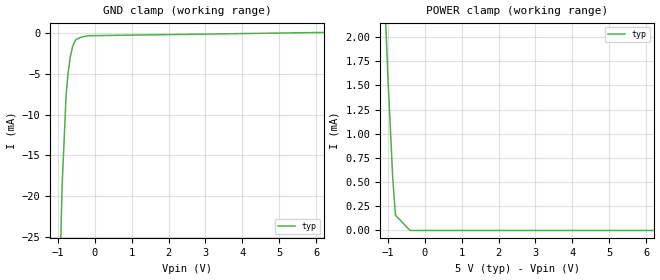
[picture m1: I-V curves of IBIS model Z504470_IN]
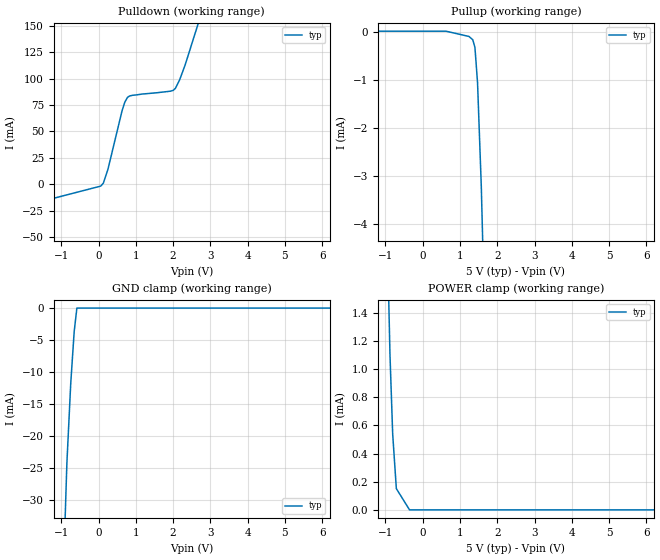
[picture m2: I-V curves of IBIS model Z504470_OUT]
| YOU ARE ONLY AUTHORIZED TO USE THIS SOFTWARE
| ACCORDING TO LICENSOR'S LICENSE RESTRICTIONS.
[IBIS Ver] 3.1
[File Name] sn54ls682j.ibs
[File Rev] 2.0
[Source] Measured and created by ICX Technology
[Date] Friday 7/14/00 9:08:15 AM
[Copyright]
| (C) COPYRIGHT 1993-2000
| MENTOR GRAPHICS CORPORATION
| ICX STANDARD LIBRARY, ICX PROJECT MODELING,
| ICX CUSTOM MODELING, ICX VENDOR MODEL
| ALL RIGHTS RESERVED.
| THE FOLLOWING ARE TRADEMARKS OR SERVICE MARKS OF
| MENTOR GRAPHICS CORPORATION:ICX (R), ICX STANDARD
| LIBRARY(R), ICX PROJECT MODELING(R), ICX CUSTOM
| MODELING(R), qualityIBIS(TM), MODELVIEWER(TM),
| AND MODELEDITOR(TM)
| ALL COPIES OF SOFTWARE, INCLUDING BUT NOT LIMITED TO
| ANY MODIFICATIONS, ENHANCEMENTS OR DERIVATIVE WORKS,
| MUST CONTAIN ALL MENTOR GRAPHICS CORPORATION'S
| NOTICES AND LEGENDS, INCLUDING THOSE EMBEDDED IN
| SOFTWARE AND THOSE AFFIXED TO SOFTWARE MEDIUM
| AND CONTAINER, AS RECEIVED FROM MENTOR GRAPHICS
| CORPORATION.
|  ZAP Model Builder 2.7
[Component] SN54LS682J
[Manufacturer] OnSemiconductor
[Package]
| variable   typ   min   max
R_pkg  .216ohms NA NA
L_pkg  5.76nH NA NA
C_pkg  2.193pF NA NA
[Pin] signal_name  model_name  R_pin  L_pin C_pin
1 _P_GT_Q Z504470_OUT .232 9.76n 3.179p
2 P0 Z504470_IN .224 7.26n 2.686p
3 Q0 Z504470_IN .216 5.26n 2.193p
4 P1 Z504470_IN .208 3.76n 1.7p
5 Q1 Z504470_IN .2 2.76n 1.207p
6 P2 Z504470_IN .2 2.76n 1.207p
7 Q2 Z504470_IN .208 3.76n 1.7p
8 P3 Z504470_IN .216 5.26n 2.193p
9 Q3 Z504470_IN .224 7.26n 2.686p
10 GND GND .232 9.76n 3.179p
11 P4 Z504470_IN .232 9.76n 3.179p
12 Q4 Z504470_IN .224 7.26n 2.686p
13 P5 Z504470_IN .216 5.26n 2.193p
14 Q5 Z504470_IN .208 3.76n 1.7p
15 P6 Z504470_IN .2 2.76n 1.207p
16 Q6 Z504470_IN .2 2.76n 1.207p
17 P7 Z504470_IN .208 3.76n 1.7p
18 Q7 Z504470_IN .216 5.26n 2.193p
19 _P_EQ_Q Z504470_OUT .224 7.26n 2.686p
20 VCC POWER .232 9.76n 3.179p
| Models and submodels in the file (2): Z504470_IN (Input), Z504470_OUT (Output)
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| (C) COPYRIGHT 1993-2000
| MENTOR GRAPHICS CORPORATION
| ICX STANDARD LIBRARY, ICX PROJECT MODELING,
| ICX CUSTOM MODELING, ICX VENDOR MODEL
| ALL RIGHTS RESERVED.
| THE FOLLOWING ARE TRADEMARKS OR SERVICE MARKS OF
| MENTOR GRAPHICS CORPORATION:ICX (R), ICX STANDARD
| LIBRARY(R), ICX PROJECT MODELING(R), ICX CUSTOM
| MODELING(R), qualityIBIS(TM), MODELVIEWER(TM),
| AND MODELEDITOR(TM)
| ALL COPIES OF SOFTWARE, INCLUDING BUT NOT LIMITED TO
| ANY MODIFICATIONS, ENHANCEMENTS OR DERIVATIVE WORKS,
| MUST CONTAIN ALL MENTOR GRAPHICS CORPORATION'S
| NOTICES AND LEGENDS, INCLUDING THOSE EMBEDDED IN
| SOFTWARE AND THOSE AFFIXED TO SOFTWARE MEDIUM
| AND CONTAINER, AS RECEIVED FROM MENTOR GRAPHICS
| CORPORATION.
| Model Application Version 1.89 2/18/99.
[Model] Z504470_IN
Model_type Input
Vinl = 800.0mV
Vinh = 2.000V
C_comp 4.000pF NA NA
| variable typ   min   max
[Voltage Range] 5.000V NA NA
[GND Clamp Reference] 0.000V NA NA
[POWER Clamp Reference] 5.000V NA NA
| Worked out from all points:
|   GND clamp passes 1 mA (typ) near -0.53 V on its own axis
|   POWER clamp passes 1 mA (typ) near -0.92 V on its own axis
[GND Clamp]
-5V       -756.3mA   NA         NA
-878.6mV  -18.64mA   NA         NA
-771.5mV  -7.581mA   NA         NA
-719.4mV  -4.915mA   NA         NA
-657.5mV  -2.876mA   NA         NA
-593.1mV  -1.58mA    NA         NA
-522.4mV  -881.6uA   NA         NA
-478.6mV  -714.8uA   NA         NA
-365.9mV  -495.9uA   NA         NA
-183mV    -307.9uA   NA         NA
10V       336.6uA    NA         NA
[POWER Clamp]
-5V       39.58mA    NA         NA
-994mV    1.589mA    NA         NA
-864mV    548.4uA    NA         NA
-789mV    158uA      NA         NA
-394.5mV  0A         NA         NA
10V       0A         NA         NA
| (C) COPYRIGHT 1993-2000
| MENTOR GRAPHICS CORPORATION
| ICX STANDARD LIBRARY, ICX PROJECT MODELING,
| ICX CUSTOM MODELING, ICX VENDOR MODEL
| ALL RIGHTS RESERVED.
| THE FOLLOWING ARE TRADEMARKS OR SERVICE MARKS OF
| MENTOR GRAPHICS CORPORATION:ICX (R), ICX STANDARD
| LIBRARY(R), ICX PROJECT MODELING(R), ICX CUSTOM
| MODELING(R), qualityIBIS(TM), MODELVIEWER(TM),
| AND MODELEDITOR(TM)
| ALL COPIES OF SOFTWARE, INCLUDING BUT NOT LIMITED TO
| ANY MODIFICATIONS, ENHANCEMENTS OR DERIVATIVE WORKS,
| MUST CONTAIN ALL MENTOR GRAPHICS CORPORATION'S
| NOTICES AND LEGENDS, INCLUDING THOSE EMBEDDED IN
| SOFTWARE AND THOSE AFFIXED TO SOFTWARE MEDIUM
| AND CONTAINER, AS RECEIVED FROM MENTOR GRAPHICS
| CORPORATION.
| Model Application Version 1.89 2/18/99.
[Model] Z504470_OUT
Model_type Output
Vref=5.000V
Rref=2.000kohms
Cref=15.00pF
Vmeas=1.300V
C_comp 8.000pF NA NA
| variable typ   min   max
[Voltage Range] 5.000V NA NA
[POWER Clamp Reference] 5.000V NA NA
[Pullup Reference] 5.000V NA NA
[Pulldown Reference] 0.000V NA NA
[GND Clamp Reference] 0.000V NA NA
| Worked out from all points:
|   slope of the pulldown table from 0 to 0.75 V, typ, clamps not added: 9.06 ohm
|   slope of the pullup table from 0 to 0.75 V, typ, clamps not added: 33.6 kohm
|   GND clamp passes 1 mA (typ) near -0.60 V on its own axis
|   POWER clamp passes 1 mA (typ) near -0.87 V on its own axis
[GND Clamp]
-5V       -1.326A    NA         NA
-1.138V   -87.27mA   NA         NA
-1.015V   -54.72mA   NA         NA
-849.6mV  -24.26mA   NA         NA
-747mV    -11.87mA   NA         NA
-654.2mV  -3.71mA    NA         NA
-581.5mV  0A         NA         NA
10V       0A         NA         NA
[Pulldown]
-5V       -47.8mA    NA         NA
68.78mV   -1.387mA   NA         NA
131mV     1.276mA    NA         NA
253.7mV   14.41mA    NA         NA
630.2mV   69.45mA    NA         NA
703.1mV   77.58mA    NA         NA
776.6mV   82.23mA    NA         NA
2.007V    88.97mA    NA         NA
2.064V    90.86mA    NA         NA
2.178V    99mA       NA         NA
2.323V    112.8mA    NA         NA
10V       970.2mA    NA         NA
[Pullup]
-5V       10.08uA    NA         NA
625mV     10.08uA    NA         NA
1.241V    -99.95uA   NA         NA
1.343V    -168.5uA   NA         NA
1.401V    -327.7uA   NA         NA
1.471V    -1.061mA   NA         NA
1.572V    -3.229mA   NA         NA
10V       -259.4mA   NA         NA
[POWER Clamp]
-5V       59.76mA    NA         NA
-1.005V   2.571mA    NA         NA
-879mV    1.103mA    NA         NA
-806mV    537.5uA    NA         NA
-708mV    150.8uA    NA         NA
-354mV    0A         NA         NA
10V       0A         NA         NA
[Ramp]
| variable typ min max
dV/dt_r 1.932/11.10n NA NA
dV/dt_f 1.932/2.088n NA NA
R_load = 500.0Ohms
